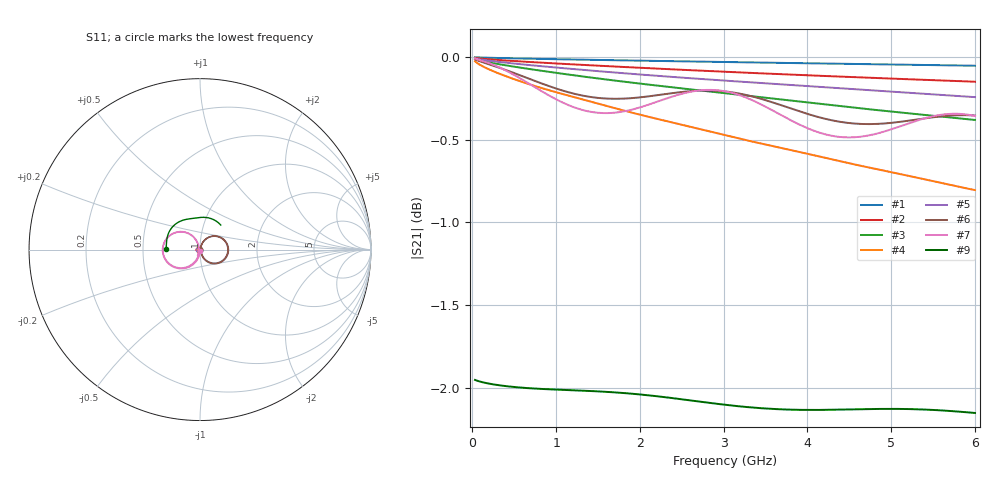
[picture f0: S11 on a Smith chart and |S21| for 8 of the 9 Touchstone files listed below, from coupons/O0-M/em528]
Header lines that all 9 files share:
! stackup OSHPARK-4L-EM528, nominal parameters; geometry of the OSHPARK-4L-FR408HR design
! model: 2D quasi-static RLGC (Djordjevic-Sarkar, Huray roughness, Wheeler loss); generated by python -m yapnr.rf.coupons expected --stackup OSHPARK-4L-FR408HR --upload M
! reference planes 10 mm from each end; 50 ohm (from the M line's Zc)
# GHz S DB R 50
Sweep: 30 MHz to 6 GHz
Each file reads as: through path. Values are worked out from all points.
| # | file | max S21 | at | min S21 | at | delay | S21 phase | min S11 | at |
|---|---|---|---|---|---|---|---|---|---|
| 1 | A02-M-line.s2p | 0.00 dB | 30 MHz | -0.1 dB | 6 GHz | 25.2 ps | -28 deg at 3.03 GHz | -75.1 dB | 30 MHz |
| 2 | A03-M-line.s2p | 0.00 dB | 30 MHz | -0.1 dB | 6 GHz | 72.7 ps | -79 deg at 3.03 GHz | -65.9 dB | 30 MHz |
| 3 | A04-M-line.s2p | -0.01 dB | 30 MHz | -0.4 dB | 6 GHz | 168 ps | 177 deg at 3.03 GHz | -65.5 dB | 2.97 GHz |
| 4 | A05-M-line.s2p | -0.03 dB | 30 MHz | -0.8 dB | 6 GHz | 391 ps | -68 deg at 3.03 GHz | -61.4 dB | 1.26 GHz |
| 5 | A07-M-verify.s2p | -0.01 dB | 30 MHz | -0.2 dB | 6 GHz | 117 ps | -128 deg at 3.03 GHz | -66.4 dB | 4.26 GHz |
| 6 | A08-M07-variant.s2p | -0.01 dB | 30 MHz | -0.4 dB | 4.74 GHz | 165 ps | 180 deg at 3.03 GHz | -48.0 dB | 3.03 GHz |
| 7 | A09-M14-variant.s2p | -0.01 dB | 30 MHz | -0.5 dB | 4.5 GHz | 170 ps | 173 deg at 3.03 GHz | -44.7 dB | 2.91 GHz |
| 8 | A10-MMK-variant.s2p | -0.01 dB | 30 MHz | -0.4 dB | 6 GHz | 172 ps | 172 deg at 3.03 GHz | -57.8 dB | 2.91 GHz |
| 9 | A14-M-switch.s2p | -1.95 dB | 30 MHz | -2.2 dB | 6 GHz | 167 ps | 178 deg at 3.03 GHz | -14.6 dB | 3.93 GHz |
